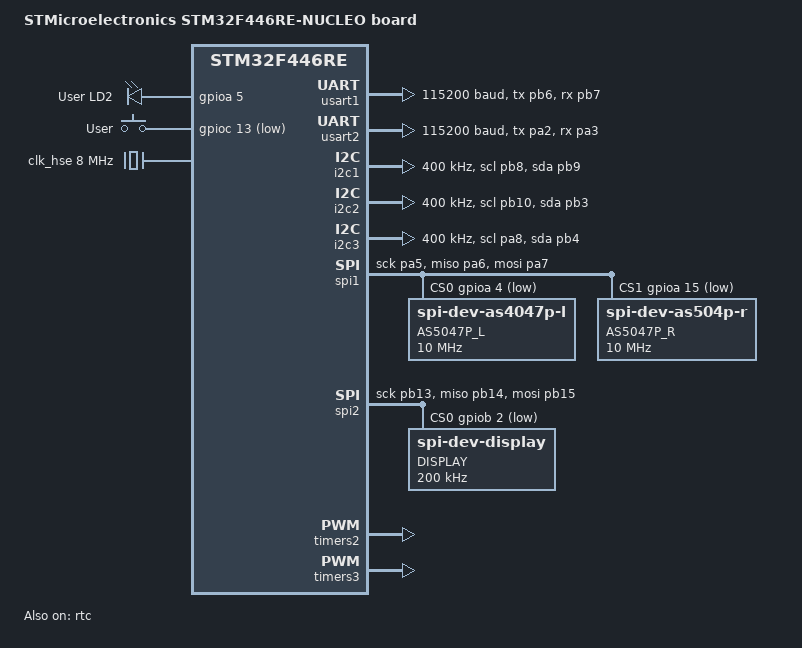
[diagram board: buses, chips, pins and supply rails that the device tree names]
/*
 * Copyright (c) 2018 Philémon Jaermann
 *
 * SPDX-License-Identifier: Apache-2.0
 */

/dts-v1/;
#include <st/f4/stm32f446Xe.dtsi>
#include <st/f4/stm32f446r(c-e)tx-pinctrl.dtsi>
#include "arduino_r3_connector.dtsi"

/ {
	model = "STMicroelectronics STM32F446RE-NUCLEO board";
	compatible = "st,stm32f446re-nucleo";

	chosen {
		zephyr,console = &usart2;
		zephyr,shell-uart = &usart2;
		zephyr,sram = &sram0;
		zephyr,flash = &flash0;
	};

	leds {
		compatible = "gpio-leds";
		green_led_2: led_2 {
			gpios = <&gpioa 5 GPIO_ACTIVE_HIGH>;
			label = "User LD2";
		};
	};

	gpio_keys {
		compatible = "gpio-keys";
		user_button: button {
			label = "User";
			gpios = <&gpioc 13 GPIO_ACTIVE_LOW>;
		};
	};

	aliases {
		led0 = &green_led_2;
		sw0 = &user_button;
		camsense-uart-1 = &usart1;
		spi-as5047p = &spi1;
		spi-display = &spi2;
	};
};

&clk_hse {
	hse-bypass;
	clock-frequency = <DT_FREQ_M(8)>; /* STLink 8MHz clock */
	status = "okay";
};

&pll {
	div-m = <8>;
	mul-n = <384>;
	div-p = <4>;
	div-q = <8>;
	clocks = <&clk_hse>;
	status = "okay";
};

&rcc {
	clocks = <&pll>;
	clock-frequency = <DT_FREQ_M(96)>;
	ahb-prescaler = <1>;
	apb1-prescaler = <2>;
	apb2-prescaler = <1>;
};

&usart1 {
	pinctrl-0 = <&usart1_tx_pb6 &usart1_rx_pb7>;
	pinctrl-names = "default";
	current-speed = <115200>;
	status = "okay";
};

&usart2 {
	pinctrl-0 = <&usart2_tx_pa2 &usart2_rx_pa3>;
	pinctrl-names = "default";
	current-speed = <115200>;
	status = "okay";
};

&i2c1 {
	pinctrl-0 = <&i2c1_scl_pb8 &i2c1_sda_pb9>;
	pinctrl-names = "default";
	status = "okay";
	clock-frequency = <I2C_BITRATE_FAST>;
};

&i2c2 {
	pinctrl-0 = <&i2c2_scl_pb10 &i2c2_sda_pb3>;
	pinctrl-names = "default";
	status = "okay";
	clock-frequency = <I2C_BITRATE_FAST>;
};

&i2c3 {
	pinctrl-0 = <&i2c3_scl_pa8 &i2c3_sda_pb4>;
	pinctrl-names = "default";
	status = "okay";
	clock-frequency = <I2C_BITRATE_FAST>;
};

&spi1 {
    status = "okay";
    pinctrl-0 = <&spi1_sck_pa5 &spi1_miso_pa6 &spi1_mosi_pa7>;
    pinctrl-names = "default";
    cs-gpios = <&gpioa 4 GPIO_ACTIVE_LOW>, <&gpioa 15 GPIO_ACTIVE_LOW>;

    as5047p_l: spi-dev-as4047p-l@0 {
        label = "AS5047P_L";
        reg = <0>;
        spi-max-frequency = <10000000>;
    };
    as5047p_r: spi-dev-as504p-r@1 {
        label = "AS5047P_R";
        reg = <1>;
        spi-max-frequency = <10000000>;
    };
};

&spi2 {
    status = "okay";
    pinctrl-0 = <&spi2_sck_pb13 &spi2_miso_pb14 &spi2_mosi_pb15>;
    pinctrl-names = "default";
    cs-gpios = <&gpiob 2 GPIO_ACTIVE_LOW>;

    display_l: spi-dev-display@0 {
        label = "DISPLAY";
        reg = <0>;
        spi-max-frequency = <200000>;
    };
};

&rtc {
	status = "okay";
};

&timers2
{
    status = "okay";
    st,prescaler = <0>;

	pwms_motors: pwm_0 {
		compatible = "st,stm32-pwm";
		status = "okay";
		label = "PWMS_MOTORS";
		pinctrl-0 = <&tim2_ch1_pa0 &tim2_ch2_pb3>;
        pinctrl-names = "default";
		#pwm-cells = <3>;
	};
};

&timers3
{
    status = "okay";
    st,prescaler = <10000>;

	pwms_servos: pwm_3 {
		compatible = "st,stm32-pwm";
		status = "okay";
		label = "PWMS_SERVOS";
		pinctrl-0 = <&tim3_ch1_pb4 &tim3_ch2_pb5 &tim3_ch3_pb0 &tim3_ch4_pb1> ; // ou tim3_ch3_pc8 et tim3_ch4_pc9
        pinctrl-names = "default";
		#pwm-cells = <3>;
	};
};

&flash0 {

	partitions {
		compatible = "fixed-partitions";
		#address-cells = <1>;
		#size-cells = <1>;

		boot_partition: partition@0 {
			label = "mcuboot";
			reg = <0x00000000 0x00010000>;
			read-only;
		};

		/*
		 * The flash starting at 0x00010000 and ending at
		 * 0x0001ffff (sectors 16-31) is reserved for use
		 * by the application.
		 */
		storage_partition: partition@10000 {
			label = "storage";
			reg = <0x00010000 0x00010000>;
		};

		slot0_partition: partition@20000 {
			label = "image-0";
			reg = <0x00020000 0x00020000>;
		};
		slot1_partition: partition@40000 {
			label = "image-1";
			reg = <0x00040000 0x00020000>;
		};
		scratch_partition: partition@60000 {
			label = "image-scratch";
			reg = <0x00060000 0x00020000>;
		};
	};
};
